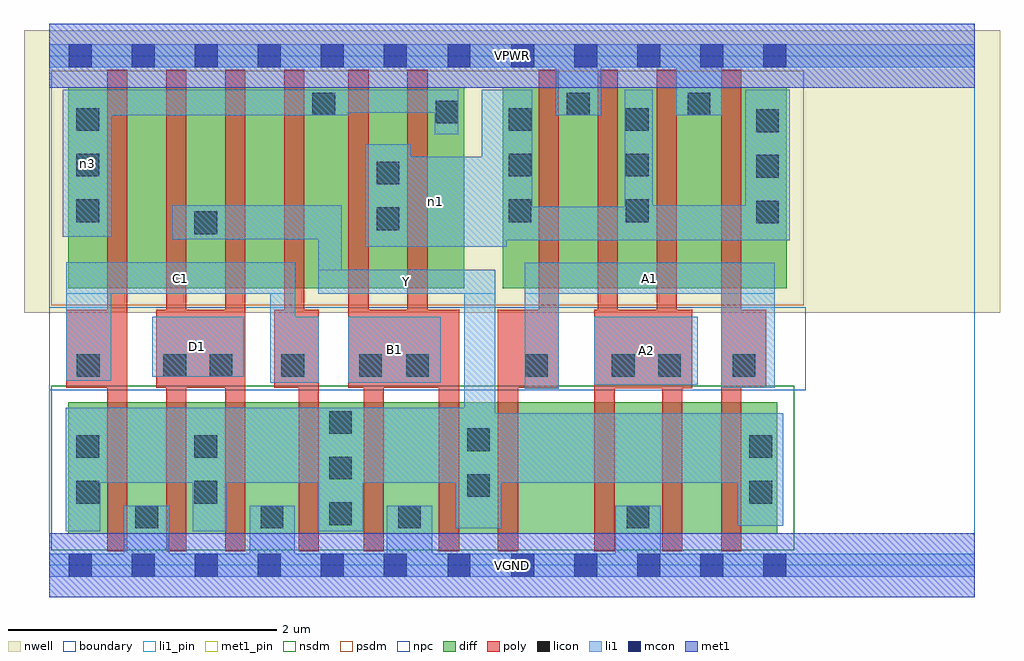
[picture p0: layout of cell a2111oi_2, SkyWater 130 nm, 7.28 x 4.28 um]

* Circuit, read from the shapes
.subckt a2111oi_2 A1 A2 B1 C1 D1 VGND VPWR Y n1 n3
XM1 VGND C1 Y VSUBS sky130_fd_pr__nfet_01v8 w=0.98 l=0.15 m=2
XM2 Y D1 VGND VSUBS sky130_fd_pr__nfet_01v8 w=0.98 l=0.15 m=2
XM3 VGND B1 Y VSUBS sky130_fd_pr__nfet_01v8 w=0.98 l=0.15 m=2
XM4 n2 A1 Y VSUBS sky130_fd_pr__nfet_01v8 w=0.98 l=0.15
XM5 VGND A2 n2 VSUBS sky130_fd_pr__nfet_01v8 w=0.98 l=0.15
XM6 n4 A2 VGND VSUBS sky130_fd_pr__nfet_01v8 w=0.98 l=0.15
XM7 Y A1 n4 VSUBS sky130_fd_pr__nfet_01v8 w=0.98 l=0.15
XM8 n5 C1 n3 n6 sky130_fd_pr__pfet_01v8 w=1.5 l=0.15
XM9 Y D1 n5 n6 sky130_fd_pr__pfet_01v8 w=1.5 l=0.15
XM10 n7 D1 Y n6 sky130_fd_pr__pfet_01v8 w=1.5 l=0.15
XM11 n3 C1 n7 n6 sky130_fd_pr__pfet_01v8 w=1.5 l=0.15
XM12 n1 B1 n3 n6 sky130_fd_pr__pfet_01v8 w=1.5 l=0.15 m=2
XM13 VPWR A1 n1 n6 sky130_fd_pr__pfet_01v8 w=1.5 l=0.15 m=2
XM14 n1 A2 VPWR n6 sky130_fd_pr__pfet_01v8 w=1.5 l=0.15 m=2
.ends

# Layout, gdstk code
import gdstk
lib = gdstk.Library(unit=1e-6, precision=1e-09)
def R(c, l, rs):  # rectangles x0, y0, x1, y1
    for r in rs: c.add(gdstk.rectangle(r[:2], r[2:], *l))
def A(c, l, x, y, w, h, nx, ny, dx, dy):  # array of equal rectangles
    R(c, l, [(x+i*dx, y+j*dy, x+i*dx+w, y+j*dy+h) for i in range(nx) for j in range(ny)])
nwell = (64, 20)
diff = (65, 20)
poly = (66, 20)
licon = (66, 44)
li1_pin = (67, 16)
li1 = (67, 20)
mcon = (67, 44)
met1_pin = (68, 16)
met1 = (68, 20)
nsdm = (93, 44)
psdm = (94, 20)
npc = (95, 20)
boundary = (235, 4)

a2111oi_2 = lib.new_cell('a2111oi_2')
R(a2111oi_2, nwell, [(-0.19,1.885,7.09,3.99), (0,1.885,6.9,3.99)])
R(a2111oi_2, diff, [(0.14,0.235,5.43,1.215), (0.14,2.065,3.095,3.565), (3.38,2.065,5.5,3.565)])
A(a2111oi_2, poly, 0.43, 0.105, 0.15, 3.59, 3, 1, 0.44, 0)
R(a2111oi_2, poly, [(1.86,0.105,2.01,1.905), (2.345,0.105,2.495,1.905), (2.905,0.105,3.055,1.905), (3.345,0.105,3.495,1.905), (4.065,0.105,4.215,1.905), (4.57,0.105,4.72,1.905), (5.01,0.105,5.16,3.695), (4.065,1.32,4.795,1.905), (4.09,1.32,4.24,3.695), (4.53,1.32,4.68,3.695), (0.125,1.325,0.58,1.905), (0.795,1.325,1.46,1.905), (1.675,1.325,2.01,1.905), (1.75,1.325,1.9,3.695), (2.23,1.325,2.38,3.695), (2.23,1.325,3.055,1.905), (2.67,1.325,2.82,3.695), (3.345,1.325,3.8,1.905), (3.65,1.325,3.8,3.695), (5.01,1.325,5.345,1.905)])
A(a2111oi_2, licon, 2.085, 0.3, 0.17, 0.17, 1, 3, 0, 0.34)
A(a2111oi_2, licon, 5.27, 2.55, 0.17, 0.17, 1, 3, 0, 0.34)
A(a2111oi_2, licon, 0.2, 2.56, 0.17, 0.17, 1, 3, 0, 0.34)
A(a2111oi_2, licon, 3.425, 2.56, 0.17, 0.17, 1, 3, 0, 0.34)
A(a2111oi_2, licon, 4.3, 2.56, 0.17, 0.17, 1, 3, 0, 0.34)
R(a2111oi_2, licon, [(0.64,0.275,0.81,0.445), (1.575,0.275,1.745,0.445), (2.6,0.275,2.77,0.445), (4.305,0.275,4.475,0.445), (0.2,0.46,0.37,0.63), (1.08,0.46,1.25,0.63), (5.22,0.46,5.39,0.63), (3.115,0.51,3.285,0.68), (0.2,0.8,0.37,0.97), (1.08,0.8,1.25,0.97), (5.22,0.8,5.39,0.97), (3.115,0.85,3.285,1.02), (0.205,1.405,0.375,1.575), (0.85,1.405,1.02,1.575), (1.195,1.405,1.365,1.575), (1.73,1.405,1.9,1.575), (2.31,1.405,2.48,1.575), (2.66,1.405,2.83,1.575), (3.545,1.405,3.715,1.575), (4.195,1.405,4.365,1.575), (4.54,1.405,4.71,1.575), (5.095,1.405,5.265,1.575), (1.08,2.47,1.25,2.64), (2.44,2.5,2.61,2.67), (2.44,2.84,2.61,3.01), (2.88,3.295,3.05,3.465), (1.96,3.355,2.13,3.525), (3.86,3.355,4.03,3.525), (4.76,3.355,4.93,3.525)])
R(a2111oi_2, li1_pin, [(4.065,1.345,4.835,1.855), (2.23,1.36,2.92,1.855), (0.765,1.405,1.45,1.855), (0.125,2.025,1.835,2.26), (2.005,2.025,3.325,2.205), (3.545,2.025,5.41,2.255)])
R(a2111oi_2, li1, [(0,-0.085,6.9,0.085), (0.555,-0.085,0.895,0.445), (1.495,-0.085,1.83,0.445), (2.515,-0.085,2.855,0.445), (4.22,-0.085,4.56,0.445), (0.12,0.255,0.38,1.175), (1.07,0.255,1.32,1.175), (2,0.255,2.34,1.175), (3.03,0.275,3.37,1.135), (3.095,0.275,3.325,2.205), (5.135,0.295,5.475,1.135), (0.12,0.615,5.475,1.135), (0.12,0.615,3.325,1.175), (3.545,1.315,3.8,2.255), (5.01,1.325,5.41,2.255), (4.065,1.345,4.835,1.855), (1.645,1.36,2.01,1.855), (1.645,1.36,1.835,2.26), (2.23,1.36,2.92,1.855), (0.125,1.375,0.46,2.26), (0.765,1.405,1.45,1.855), (0.125,2.025,1.835,2.26), (2.005,2.025,3.325,2.205), (2.005,2.025,2.18,2.685), (3.545,2.025,5.41,2.255), (2.355,2.375,3.41,3.045), (2.355,2.375,2.695,3.14), (3.225,2.425,5.52,2.675), (3.225,2.425,3.6,3.545), (4.29,2.425,4.5,3.545), (4.29,2.425,5.52,2.685), (5.19,2.425,5.52,3.545), (0.915,2.43,2.18,2.685), (0.1,2.45,0.465,3.545), (2.875,3.215,3.05,3.545), (0.1,3.355,2.23,3.545), (3.775,3.355,4.115,3.885), (4.675,3.355,5.015,3.885), (0.1,3.375,3.05,3.545), (0,3.715,6.9,3.885)])
A(a2111oi_2, mcon, 0.145, -0.085, 0.17, 0.17, 6, 2, 0.47, 3.8)
A(a2111oi_2, mcon, 3.445, -0.085, 0.17, 0.17, 5, 2, 0.47, 3.8)
R(a2111oi_2, mcon, [(2.97,-0.085,3.14,0.085), (2.97,3.715,3.14,3.885)])
R(a2111oi_2, met1_pin, [(0,-0.24,6.9,0.24), (0,3.56,6.9,4.04)])
R(a2111oi_2, met1, [(0,-0.24,6.9,0.24), (0,3.56,6.9,4.04)])
R(a2111oi_2, nsdm, [(0.015,0.11,5.555,1.34)])
R(a2111oi_2, psdm, [(0.015,1.94,5.625,3.69)])
R(a2111oi_2, npc, [(0,1.305,5.64,1.925)])
R(a2111oi_2, boundary, [(0,0,6.9,3.8)])
a2111oi_2.add(gdstk.Label('A1', (4.477,2.14), layer=67, texttype=5))
a2111oi_2.add(gdstk.Label('A2', (4.45,1.6), layer=67, texttype=5))
a2111oi_2.add(gdstk.Label('B1', (2.575,1.607), layer=67, texttype=5))
a2111oi_2.add(gdstk.Label('C1', (0.98,2.142), layer=67, texttype=5))
a2111oi_2.add(gdstk.Label('D1', (1.107,1.63), layer=67, texttype=5))
a2111oi_2.add(gdstk.Label('Y', (2.665,2.115), layer=67, texttype=5))
a2111oi_2.add(gdstk.Label('n3', (0.282,2.997), layer=67, texttype=5))
a2111oi_2.add(gdstk.Label('n1', (2.882,2.71), layer=67, texttype=5))
a2111oi_2.add(gdstk.Label('VPWR', (3.45,3.8), layer=68, texttype=5))
a2111oi_2.add(gdstk.Label('VGND', (3.45,0), layer=68, texttype=5))
a2111oi_2.add(gdstk.Label('A1', (4.477,2.14), layer=67, texttype=16))
a2111oi_2.add(gdstk.Label('A2', (4.45,1.6), layer=67, texttype=16))
a2111oi_2.add(gdstk.Label('B1', (2.575,1.607), layer=67, texttype=16))
a2111oi_2.add(gdstk.Label('C1', (0.98,2.142), layer=67, texttype=16))
a2111oi_2.add(gdstk.Label('D1', (1.107,1.63), layer=67, texttype=16))
a2111oi_2.add(gdstk.Label('Y', (2.665,2.115), layer=67, texttype=16))
a2111oi_2.add(gdstk.Label('VPWR', (3.45,3.8), layer=68, texttype=16))
a2111oi_2.add(gdstk.Label('VGND', (3.45,0), layer=68, texttype=16))

lib.write_gds('a2111oi_2.gds')
